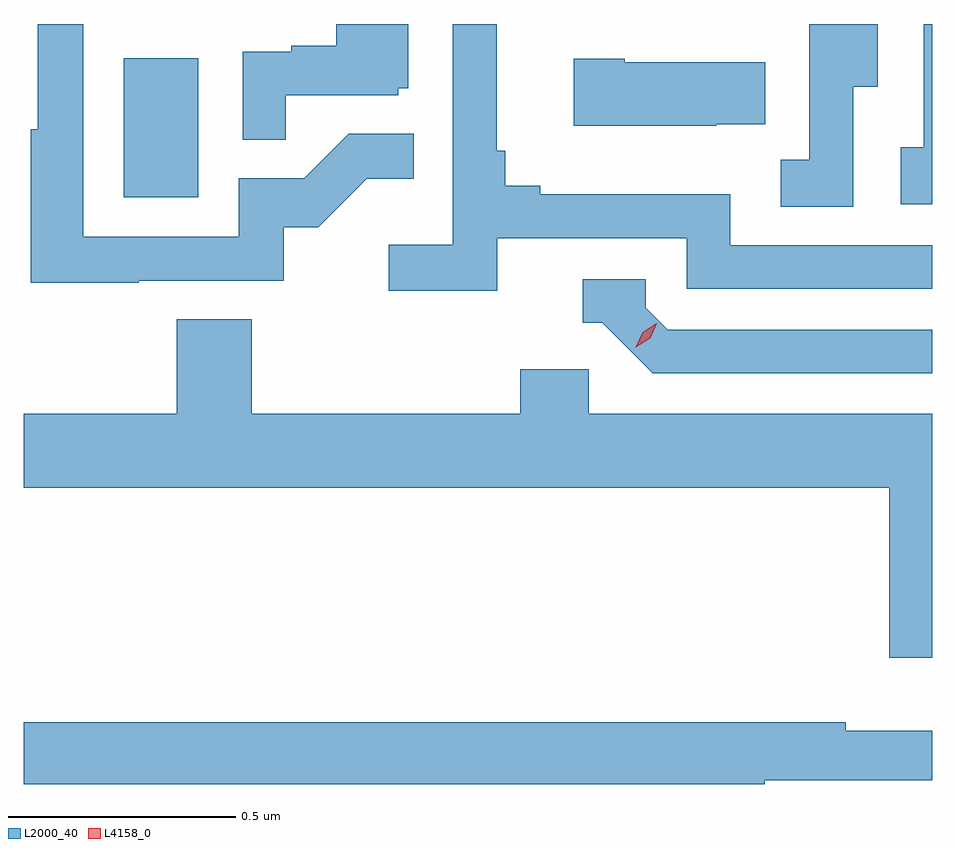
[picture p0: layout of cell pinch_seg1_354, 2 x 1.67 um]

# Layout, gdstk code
import gdstk
lib = gdstk.Library(unit=1e-6, precision=1e-09)
def R(c, l, rs):  # rectangles x0, y0, x1, y1
    for r in rs: c.add(gdstk.rectangle(r[:2], r[2:], *l))
def P(c, l, *ps):  # polygons
    for p in ps: c.add(gdstk.Polygon(p, *l))
L2000_40 = (2000, 40)
L4158_0 = (4158, 0)

pinch_seg1_354 = lib.new_cell('pinch_seg1_354')
R(pinch_seg1_354, L2000_40, [(990.494,560.364,990.658,560.671)])
P(pinch_seg1_354, L2000_40, [(991.316,560.274),(991.734,560.274),(991.734,560.163),(992.274,560.163),(992.274,560.259),(991.83,560.259),(991.83,560.371),(991.411,560.371),(991.411,560.39),(991.334,560.39),(991.334,560.467),(991.315,560.467),(991.315,560.746),(991.218,560.746),(991.218,560.26),(991.077,560.26),(991.077,560.158),(991.316,560.158)],
  [(990.851,560.589),(991.098,560.589),(991.098,560.604),(991.12,560.604),(991.12,560.746),(990.962,560.746),(990.962,560.698),(990.863,560.698),(990.863,560.685),(990.756,560.685),(990.756,560.491),(990.851,560.491)],
  [(992.1,560.608),(992.155,560.608),(992.155,560.746),(992.004,560.746),(992.004,560.447),(991.941,560.447),(991.941,560.344),(992.1,560.344)],
  [(990.527,560.181),(990.846,560.181),(990.846,560.298),(990.922,560.298),(991.029,560.405),(991.133,560.405),(991.133,560.504),(990.989,560.504),(990.891,560.406),(990.747,560.406),(990.747,560.277),(990.405,560.277),(990.405,560.746),(990.304,560.746),(990.304,560.514),(990.289,560.514),(990.289,560.176),(990.527,560.176)],
  [(992.274,560.746),(992.256,560.746),(992.256,560.474),(992.205,560.474),(992.205,560.349),(992.274,560.349)],
  [(991.799,560.525),(991.907,560.525),(991.907,560.662),(991.597,560.662),(991.597,560.67),(991.485,560.67),(991.485,560.522),(991.799,560.522)],
  [(992.274,560.073),(991.692,560.073),(991.644,560.121),(991.644,560.184),(991.505,560.184),(991.505,560.088),(991.548,560.088),(991.659,559.977),(992.274,559.977)],
  [(992.274,559.888),(991.518,559.888),(991.518,559.986),(991.367,559.986),(991.367,559.888),(990.776,559.888),(990.776,560.096),(990.611,560.096),(990.611,559.888),(990.274,559.888),(990.274,559.724),(992.18,559.724),(992.18,559.35),(992.274,559.35)],
  [(991.906,559.08),(992.274,559.08),(992.274,559.189),(992.084,559.189),(992.084,559.208),(990.274,559.208),(990.274,559.072),(991.906,559.072)])
P(pinch_seg1_354, L4158_0, [(991.622,560.034),(991.622,560.034),(991.637,560.067),(991.668,560.087),(991.668,560.087),(991.668,560.087),(991.653,560.054),(991.622,560.034)])

lib.write_gds('pinch_seg1_354.gds')
